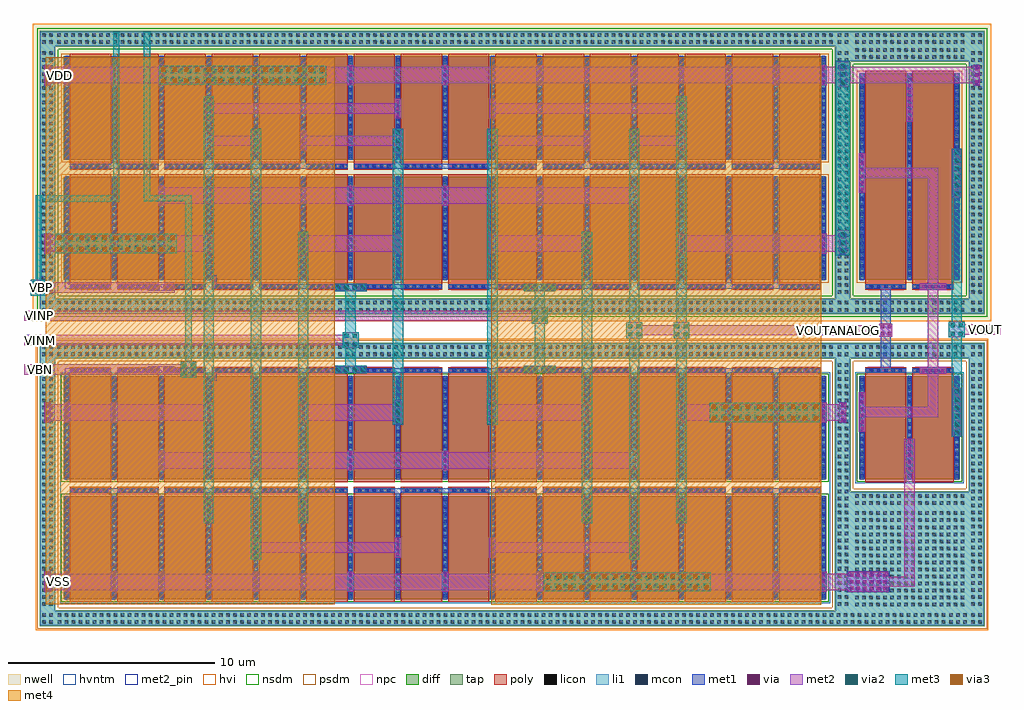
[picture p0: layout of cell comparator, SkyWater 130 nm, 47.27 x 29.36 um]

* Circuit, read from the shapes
.subckt comparator VBN VBP VDD VINM VINP VOUT VOUTANALOG VSS
XM1 VSS VSS VSS VSS sky130_fd_pr__nfet_g5v0d10v5 w=5 l=2 m=8
XM2 n1 VBN VSS VSS sky130_fd_pr__nfet_g5v0d10v5 w=5 l=2 m=2
XM3 n2 n3 VSS VSS sky130_fd_pr__nfet_g5v0d10v5 w=5 l=2 m=2
XM4 n1 VSS VSS VSS sky130_fd_pr__nfet_g5v0d10v5 w=5 l=2 m=2
XM5 n3 n3 VSS VSS sky130_fd_pr__nfet_g5v0d10v5 w=5 l=2 m=2
XM6 n4 VINM n1 VSS sky130_fd_pr__nfet_g5v0d10v5 w=5 l=2 m=4
XM7 n5 n5 VSS VSS sky130_fd_pr__nfet_g5v0d10v5 w=5 l=2 m=2
XM8 VOUTANALOG n5 VSS VSS sky130_fd_pr__nfet_g5v0d10v5 w=5 l=2 m=2
XM9 n6 VINP n1 VSS sky130_fd_pr__nfet_g5v0d10v5 w=5 l=2 m=4
XM10 n7 n7 VSS VSS sky130_fd_pr__nfet_g5v0d10v5 w=5 l=2 m=2
XM11 VOUTANALOG n7 VSS VSS sky130_fd_pr__nfet_g5v0d10v5 w=5 l=2 m=2
XM12 VSS VOUTANALOG n8 VSS sky130_fd_pr__nfet_g5v0d10v5 w=5 l=2
XM13 VOUT n8 VSS VSS sky130_fd_pr__nfet_g5v0d10v5 w=5 l=2
XM14 VDD VDD VDD VDD sky130_fd_pr__pfet_g5v0d10v5 w=5 l=2 m=8
XM15 n9 VBP VDD VDD sky130_fd_pr__pfet_g5v0d10v5 w=5 l=2 m=2
XM16 n5 n4 VDD VDD sky130_fd_pr__pfet_g5v0d10v5 w=5 l=2 m=2
XM17 n9 VDD VDD VDD sky130_fd_pr__pfet_g5v0d10v5 w=5 l=2 m=2
XM18 n3 VINM n9 VDD sky130_fd_pr__pfet_g5v0d10v5 w=5 l=2 m=4
XM19 n4 n4 VDD VDD sky130_fd_pr__pfet_g5v0d10v5 w=5 l=2 m=2
XM20 n2 n2 VDD VDD sky130_fd_pr__pfet_g5v0d10v5 w=5 l=2 m=2
XM21 n7 VINP n9 VDD sky130_fd_pr__pfet_g5v0d10v5 w=5 l=2 m=4
XM22 VOUTANALOG n2 VDD VDD sky130_fd_pr__pfet_g5v0d10v5 w=5 l=2 m=2
XM23 n6 n6 VDD VDD sky130_fd_pr__pfet_g5v0d10v5 w=5 l=2 m=2
XM24 VOUTANALOG n6 VDD VDD sky130_fd_pr__pfet_g5v0d10v5 w=5 l=2 m=2
XM25 VDD VOUTANALOG n8 VDD sky130_fd_pr__pfet_g5v0d10v5 w=10 l=2
XM26 VOUT n8 VDD VDD sky130_fd_pr__pfet_g5v0d10v5 w=10 l=2
.ends

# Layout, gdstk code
import gdstk
lib = gdstk.Library(unit=1e-6, precision=1e-09)
def R(c, l, rs):  # rectangles x0, y0, x1, y1
    for r in rs: c.add(gdstk.rectangle(r[:2], r[2:], *l))
def A(c, l, x, y, w, h, nx, ny, dx, dy):  # array of equal rectangles
    R(c, l, [(x+i*dx, y+j*dy, x+i*dx+w, y+j*dy+h) for i in range(nx) for j in range(ny)])
nwell = (64, 20)
diff = (65, 20)
tap = (65, 44)
poly = (66, 20)
licon = (66, 44)
li1 = (67, 20)
mcon = (67, 44)
met1 = (68, 20)
via = (68, 44)
met2_pin = (69, 16)
met2 = (69, 20)
via2 = (69, 44)
met3 = (70, 20)
via3 = (70, 44)
met4 = (71, 20)
hvi = (75, 20)
nsdm = (93, 44)
psdm = (94, 20)
npc = (95, 20)
hvntm = (125, 20)

comparator = lib.new_cell('comparator')
R(comparator, nwell, [(2538.77,3214.695,2585.2,3229.085)])
R(comparator, diff, [(2540.28,3201.215,2577.21,3206.215), (2540.28,3207.025,2577.21,3212.025), (2578.8,3207.025,2583.67,3212.025), (2540.28,3216.685,2577.21,3221.685), (2578.8,3216.685,2583.67,3226.685), (2540.28,3222.515,2577.21,3227.515)])
R(comparator, tap, [(2539.1,3199.91,2584.87,3200.68), (2539.1,3200.68,2539.87,3212.87), (2577.62,3200.68,2584.87,3206.44), (2577.62,3206.44,2578.39,3212.87), (2584.1,3206.44,2584.87,3212.87), (2539.1,3212.87,2584.87,3213.64), (2539.1,3215.025,2584.87,3215.795), (2539.1,3215.795,2539.87,3227.985), (2577.62,3215.795,2578.39,3227.265), (2584.1,3215.795,2584.87,3227.265), (2577.62,3227.265,2584.87,3227.985), (2539.1,3227.985,2584.87,3228.755)])
A(comparator, poly, 2540.57, 3201.085, 2, 5.57, 16, 2, 2.29, 5.81)
A(comparator, poly, 2540.57, 3216.2, 2, 5.615, 16, 2, 2.29, 5.83)
R(comparator, poly, [(2579.09,3206.895,2581.09,3212.465), (2581.38,3206.895,2583.38,3212.465), (2579.09,3216.2,2581.09,3226.815), (2581.38,3216.2,2583.38,3226.815)])
A(comparator, licon, 2539.97, 3200.04, 0.17, 0.17, 130, 2, 0.34, 0.34)
A(comparator, licon, 2578.61, 3200.88, 0.17, 0.17, 16, 14, 0.34, 0.34)
A(comparator, licon, 2539.23, 3200.91, 0.17, 0.17, 1, 35, 0, 0.34)
A(comparator, licon, 2539.57, 3200.91, 0.17, 0.17, 1, 35, 0, 0.34)
A(comparator, licon, 2577.75, 3200.91, 0.17, 0.17, 1, 35, 0, 0.34)
A(comparator, licon, 2578.09, 3200.91, 0.17, 0.17, 1, 35, 0, 0.34)
A(comparator, licon, 2584.23, 3200.91, 0.17, 0.17, 1, 35, 0, 0.34)
A(comparator, licon, 2584.57, 3200.91, 0.17, 0.17, 1, 35, 0, 0.34)
A(comparator, licon, 2540.34, 3201.42, 0.17, 0.17, 17, 14, 2.29, 0.34)
A(comparator, licon, 2578.61, 3205.8, 0.17, 0.17, 16, 2, 0.34, 0.34)
A(comparator, licon, 2540.805, 3206.405, 0.17, 0.17, 5, 2, 0.34, 5.81)
A(comparator, licon, 2543.095, 3206.405, 0.17, 0.17, 5, 2, 0.34, 5.81)
A(comparator, licon, 2545.385, 3206.405, 0.17, 0.17, 5, 2, 0.34, 5.81)
A(comparator, licon, 2547.675, 3206.405, 0.17, 0.17, 5, 2, 0.34, 5.81)
A(comparator, licon, 2549.965, 3206.405, 0.17, 0.17, 5, 2, 0.34, 5.81)
A(comparator, licon, 2552.255, 3206.405, 0.17, 0.17, 5, 2, 0.34, 5.81)
A(comparator, licon, 2554.545, 3206.405, 0.17, 0.17, 5, 2, 0.34, 5.81)
A(comparator, licon, 2556.835, 3206.405, 0.17, 0.17, 5, 2, 0.34, 5.81)
A(comparator, licon, 2559.125, 3206.405, 0.17, 0.17, 5, 2, 0.34, 5.81)
A(comparator, licon, 2561.415, 3206.405, 0.17, 0.17, 5, 2, 0.34, 5.81)
A(comparator, licon, 2563.705, 3206.405, 0.17, 0.17, 5, 2, 0.34, 5.81)
A(comparator, licon, 2565.995, 3206.405, 0.17, 0.17, 5, 2, 0.34, 5.81)
A(comparator, licon, 2568.285, 3206.405, 0.17, 0.17, 5, 2, 0.34, 5.81)
A(comparator, licon, 2570.575, 3206.405, 0.17, 0.17, 5, 2, 0.34, 5.81)
A(comparator, licon, 2572.865, 3206.405, 0.17, 0.17, 5, 2, 0.34, 5.81)
A(comparator, licon, 2575.155, 3206.405, 0.17, 0.17, 5, 2, 0.34, 5.81)
A(comparator, licon, 2540.34, 3207.23, 0.17, 0.17, 17, 14, 2.29, 0.34)
A(comparator, licon, 2578.86, 3207.23, 0.17, 0.17, 3, 14, 2.29, 0.34)
A(comparator, licon, 2579.325, 3212.215, 0.17, 0.17, 5, 2, 0.34, 4.065)
A(comparator, licon, 2581.615, 3212.215, 0.17, 0.17, 5, 2, 0.34, 4.065)
A(comparator, licon, 2539.96, 3213, 0.17, 0.17, 111, 2, 0.34, 0.34)
A(comparator, licon, 2578.61, 3213, 0.17, 0.17, 16, 2, 0.34, 0.34)
A(comparator, licon, 2539.96, 3215.155, 0.17, 0.17, 111, 2, 0.34, 0.34)
A(comparator, licon, 2578.61, 3215.155, 0.17, 0.17, 16, 2, 0.34, 0.34)
A(comparator, licon, 2539.23, 3216.025, 0.17, 0.17, 1, 35, 0, 0.34)
A(comparator, licon, 2539.57, 3216.025, 0.17, 0.17, 1, 35, 0, 0.34)
A(comparator, licon, 2577.75, 3216.025, 0.17, 0.17, 1, 35, 0, 0.34)
A(comparator, licon, 2578.09, 3216.025, 0.17, 0.17, 1, 35, 0, 0.34)
A(comparator, licon, 2584.23, 3216.025, 0.17, 0.17, 1, 35, 0, 0.34)
A(comparator, licon, 2584.57, 3216.025, 0.17, 0.17, 1, 35, 0, 0.34)
A(comparator, licon, 2540.805, 3216.28, 0.17, 0.17, 5, 2, 0.34, 5.83)
A(comparator, licon, 2543.095, 3216.28, 0.17, 0.17, 5, 2, 0.34, 5.83)
A(comparator, licon, 2545.385, 3216.28, 0.17, 0.17, 5, 2, 0.34, 5.83)
A(comparator, licon, 2547.675, 3216.28, 0.17, 0.17, 5, 2, 0.34, 5.83)
A(comparator, licon, 2549.965, 3216.28, 0.17, 0.17, 5, 2, 0.34, 5.83)
A(comparator, licon, 2552.255, 3216.28, 0.17, 0.17, 5, 2, 0.34, 5.83)
A(comparator, licon, 2554.545, 3216.28, 0.17, 0.17, 5, 2, 0.34, 5.83)
A(comparator, licon, 2556.835, 3216.28, 0.17, 0.17, 5, 2, 0.34, 5.83)
A(comparator, licon, 2559.125, 3216.28, 0.17, 0.17, 5, 2, 0.34, 5.83)
A(comparator, licon, 2561.415, 3216.28, 0.17, 0.17, 5, 2, 0.34, 5.83)
A(comparator, licon, 2563.705, 3216.28, 0.17, 0.17, 5, 2, 0.34, 5.83)
A(comparator, licon, 2565.995, 3216.28, 0.17, 0.17, 5, 2, 0.34, 5.83)
A(comparator, licon, 2568.285, 3216.28, 0.17, 0.17, 5, 2, 0.34, 5.83)
A(comparator, licon, 2570.575, 3216.28, 0.17, 0.17, 5, 2, 0.34, 5.83)
A(comparator, licon, 2572.865, 3216.28, 0.17, 0.17, 5, 2, 0.34, 5.83)
A(comparator, licon, 2575.155, 3216.28, 0.17, 0.17, 5, 2, 0.34, 5.83)
A(comparator, licon, 2578.86, 3216.84, 0.17, 0.17, 3, 29, 2.29, 0.34)
A(comparator, licon, 2540.34, 3216.89, 0.17, 0.17, 17, 14, 2.29, 0.34)
A(comparator, licon, 2540.34, 3222.72, 0.17, 0.17, 17, 14, 2.29, 0.34)
A(comparator, licon, 2578.61, 3227.395, 0.17, 0.17, 16, 2, 0.34, 0.34)
A(comparator, licon, 2539.96, 3228.115, 0.17, 0.17, 111, 2, 0.34, 0.34)
A(comparator, licon, 2578.61, 3228.115, 0.17, 0.17, 16, 2, 0.34, 0.34)
R(comparator, licon, [(2539.23,3200.04,2539.4,3200.21), (2539.57,3200.04,2539.74,3200.21), (2584.23,3200.04,2584.4,3200.21), (2584.57,3200.04,2584.74,3200.21), (2539.23,3200.38,2539.4,3200.55), (2539.57,3200.38,2539.74,3200.55), (2584.23,3200.38,2584.4,3200.55), (2584.57,3200.38,2584.74,3200.55), (2539.23,3213,2539.4,3213.17), (2539.57,3213,2539.74,3213.17), (2577.75,3213,2577.92,3213.17), (2578.09,3213,2578.26,3213.17), (2584.23,3213,2584.4,3213.17), (2584.57,3213,2584.74,3213.17), (2539.23,3213.34,2539.4,3213.51), (2539.57,3213.34,2539.74,3213.51), (2577.75,3213.34,2577.92,3213.51), (2578.09,3213.34,2578.26,3213.51), (2584.23,3213.34,2584.4,3213.51), (2584.57,3213.34,2584.74,3213.51), (2539.23,3215.155,2539.4,3215.325), (2539.57,3215.155,2539.74,3215.325), (2577.75,3215.155,2577.92,3215.325), (2578.09,3215.155,2578.26,3215.325), (2584.23,3215.155,2584.4,3215.325), (2584.57,3215.155,2584.74,3215.325), (2539.23,3215.495,2539.4,3215.665), (2539.57,3215.495,2539.74,3215.665), (2577.75,3215.495,2577.92,3215.665), (2578.09,3215.495,2578.26,3215.665), (2584.23,3215.495,2584.4,3215.665), (2584.57,3215.495,2584.74,3215.665), (2539.23,3228.115,2539.4,3228.285), (2539.57,3228.115,2539.74,3228.285), (2577.75,3228.115,2577.92,3228.285), (2578.09,3228.115,2578.26,3228.285), (2584.23,3228.115,2584.4,3228.285), (2584.57,3228.115,2584.74,3228.285), (2539.23,3228.455,2539.4,3228.625), (2539.57,3228.455,2539.74,3228.625), (2577.75,3228.455,2577.92,3228.625), (2578.09,3228.455,2578.26,3228.625), (2584.23,3228.455,2584.4,3228.625), (2584.57,3228.455,2584.74,3228.625)])
A(comparator, li1, 2540.34, 3201.195, 0.17, 5.04, 17, 2, 2.29, 5.81)
A(comparator, li1, 2540.57, 3206.405, 2, 0.17, 16, 2, 2.29, 5.81)
A(comparator, li1, 2578.86, 3207.005, 0.17, 5.04, 3, 1, 2.29, 0)
A(comparator, li1, 2540.57, 3216.28, 2, 0.17, 16, 2, 2.29, 5.83)
A(comparator, li1, 2540.34, 3216.665, 0.17, 5.04, 17, 2, 2.29, 5.83)
A(comparator, li1, 2578.86, 3216.665, 0.17, 10.04, 3, 1, 2.29, 0)
R(comparator, li1, [(2539.14,3199.95,2584.83,3200.64), (2539.14,3200.64,2539.83,3212.91), (2577.66,3200.64,2584.83,3206.4), (2577.66,3206.4,2578.35,3212.91), (2584.14,3206.4,2584.83,3212.91), (2579.09,3212.215,2581.09,3212.385), (2581.38,3212.215,2583.38,3212.385), (2539.14,3212.91,2584.83,3213.6), (2539.14,3215.065,2584.83,3215.755), (2539.14,3215.755,2539.83,3228.025), (2577.66,3215.755,2578.35,3227.305), (2584.14,3215.755,2584.83,3227.305), (2579.09,3216.28,2581.09,3216.45), (2581.38,3216.28,2583.38,3216.45), (2577.66,3227.305,2584.83,3228.025), (2539.14,3228.025,2584.83,3228.715)])
A(comparator, mcon, 2540.34, 3201.29, 0.17, 0.17, 17, 14, 2.29, 0.36)
A(comparator, mcon, 2539.395, 3201.62, 0.17, 0.17, 1, 3, 0, 0.36)
A(comparator, mcon, 2578.25, 3201.62, 0.17, 0.17, 6, 3, 0.36, 0.36)
A(comparator, mcon, 2540.765, 3206.405, 0.17, 0.17, 5, 2, 0.36, 5.81)
A(comparator, mcon, 2543.055, 3206.405, 0.17, 0.17, 5, 2, 0.36, 5.81)
A(comparator, mcon, 2545.345, 3206.405, 0.17, 0.17, 5, 2, 0.36, 5.81)
A(comparator, mcon, 2547.635, 3206.405, 0.17, 0.17, 5, 2, 0.36, 5.81)
A(comparator, mcon, 2549.925, 3206.405, 0.17, 0.17, 5, 2, 0.36, 5.81)
A(comparator, mcon, 2552.215, 3206.405, 0.17, 0.17, 5, 2, 0.36, 5.81)
A(comparator, mcon, 2554.505, 3206.405, 0.17, 0.17, 5, 2, 0.36, 5.81)
A(comparator, mcon, 2556.795, 3206.405, 0.17, 0.17, 5, 2, 0.36, 5.81)
A(comparator, mcon, 2559.085, 3206.405, 0.17, 0.17, 5, 2, 0.36, 5.81)
A(comparator, mcon, 2561.375, 3206.405, 0.17, 0.17, 5, 2, 0.36, 5.81)
A(comparator, mcon, 2563.665, 3206.405, 0.17, 0.17, 5, 2, 0.36, 5.81)
A(comparator, mcon, 2565.955, 3206.405, 0.17, 0.17, 5, 2, 0.36, 5.81)
A(comparator, mcon, 2568.245, 3206.405, 0.17, 0.17, 5, 2, 0.36, 5.81)
A(comparator, mcon, 2570.535, 3206.405, 0.17, 0.17, 5, 2, 0.36, 5.81)
A(comparator, mcon, 2572.825, 3206.405, 0.17, 0.17, 5, 2, 0.36, 5.81)
A(comparator, mcon, 2575.115, 3206.405, 0.17, 0.17, 5, 2, 0.36, 5.81)
A(comparator, mcon, 2540.34, 3207.1, 0.17, 0.17, 17, 14, 2.29, 0.36)
A(comparator, mcon, 2578.86, 3207.1, 0.17, 0.17, 3, 14, 2.29, 0.36)
A(comparator, mcon, 2539.4, 3209.82, 0.17, 0.17, 1, 3, 0, 0.36)
A(comparator, mcon, 2577.92, 3209.82, 0.17, 0.17, 1, 3, 0, 0.36)
A(comparator, mcon, 2579.285, 3212.215, 0.17, 0.17, 5, 2, 0.36, 4.065)
A(comparator, mcon, 2581.575, 3212.215, 0.17, 0.17, 5, 2, 0.36, 4.065)
A(comparator, mcon, 2540.765, 3216.28, 0.17, 0.17, 5, 2, 0.36, 5.83)
A(comparator, mcon, 2543.055, 3216.28, 0.17, 0.17, 5, 2, 0.36, 5.83)
A(comparator, mcon, 2545.345, 3216.28, 0.17, 0.17, 5, 2, 0.36, 5.83)
A(comparator, mcon, 2547.635, 3216.28, 0.17, 0.17, 5, 2, 0.36, 5.83)
A(comparator, mcon, 2549.925, 3216.28, 0.17, 0.17, 5, 2, 0.36, 5.83)
A(comparator, mcon, 2552.215, 3216.28, 0.17, 0.17, 5, 2, 0.36, 5.83)
A(comparator, mcon, 2554.505, 3216.28, 0.17, 0.17, 5, 2, 0.36, 5.83)
A(comparator, mcon, 2556.795, 3216.28, 0.17, 0.17, 5, 2, 0.36, 5.83)
A(comparator, mcon, 2559.085, 3216.28, 0.17, 0.17, 5, 2, 0.36, 5.83)
A(comparator, mcon, 2561.375, 3216.28, 0.17, 0.17, 5, 2, 0.36, 5.83)
A(comparator, mcon, 2563.665, 3216.28, 0.17, 0.17, 5, 2, 0.36, 5.83)
A(comparator, mcon, 2565.955, 3216.28, 0.17, 0.17, 5, 2, 0.36, 5.83)
A(comparator, mcon, 2568.245, 3216.28, 0.17, 0.17, 5, 2, 0.36, 5.83)
A(comparator, mcon, 2570.535, 3216.28, 0.17, 0.17, 5, 2, 0.36, 5.83)
A(comparator, mcon, 2572.825, 3216.28, 0.17, 0.17, 5, 2, 0.36, 5.83)
A(comparator, mcon, 2575.115, 3216.28, 0.17, 0.17, 5, 2, 0.36, 5.83)
A(comparator, mcon, 2540.34, 3216.76, 0.17, 0.17, 17, 14, 2.29, 0.36)
A(comparator, mcon, 2578.86, 3216.92, 0.17, 0.17, 3, 27, 2.29, 0.36)
A(comparator, mcon, 2539.4, 3218, 0.17, 0.17, 1, 3, 0, 0.36)
A(comparator, mcon, 2577.92, 3218, 0.17, 0.17, 1, 3, 0, 0.36)
A(comparator, mcon, 2540.34, 3222.59, 0.17, 0.17, 17, 14, 2.29, 0.36)
A(comparator, mcon, 2539.395, 3226.16, 0.17, 0.17, 1, 3, 0, 0.36)
A(comparator, mcon, 2577.925, 3226.16, 0.17, 0.17, 1, 3, 0, 0.36)
A(comparator, mcon, 2584.4, 3226.16, 0.17, 0.17, 1, 3, 0, 0.36)
A(comparator, met1, 2540.31, 3201.215, 0.23, 0.37, 3, 1, 2.29, 0)
A(comparator, met1, 2549.47, 3201.215, 0.23, 0.37, 6, 1, 4.58, 0)
A(comparator, met1, 2540.265, 3201.585, 0.32, 0.96, 3, 2, 2.29, 24.54)
A(comparator, met1, 2549.425, 3201.585, 0.32, 0.96, 6, 2, 4.58, 24.54)
A(comparator, met1, 2540.31, 3202.545, 0.23, 3.67, 9, 1, 4.58, 0)
A(comparator, met1, 2545.17, 3206.375, 8.83, 0.23, 3, 2, 9.16, 15.705)
A(comparator, met1, 2542.6, 3207.025, 0.23, 2.76, 7, 2, 4.58, 11.9)
A(comparator, met1, 2544.89, 3207.025, 0.23, 0.435, 6, 2, 4.58, 14.225)
A(comparator, met1, 2572.37, 3207.025, 0.23, 2.76, 3, 2, 2.29, 11.9)
A(comparator, met1, 2544.845, 3207.46, 0.32, 0.96, 6, 2, 4.58, 12.83)
A(comparator, met1, 2544.89, 3208.42, 0.23, 3.605, 6, 2, 4.58, 8.265)
A(comparator, met1, 2542.555, 3209.785, 0.32, 0.96, 7, 2, 4.58, 8.18)
A(comparator, met1, 2572.325, 3209.785, 0.32, 0.96, 3, 2, 2.29, 8.18)
A(comparator, met1, 2551.76, 3210.745, 0.23, 1.28, 4, 2, 4.58, 5.94)
A(comparator, met1, 2570.08, 3210.745, 0.23, 1.44, 3, 1, 2.29, 0)
A(comparator, met1, 2549.75, 3212.185, 8.83, 0.23, 3, 2, 9.16, 4.065)
A(comparator, met1, 2544.365, 3212.415, 1.28, 0.09, 3, 2, 9.16, 3.745)
A(comparator, met1, 2570.08, 3216.48, 0.23, 1.485, 3, 1, 2.29, 0)
A(comparator, met1, 2540.31, 3222.515, 0.23, 3.61, 9, 1, 4.58, 0)
A(comparator, met1, 2540.31, 3227.085, 0.23, 0.43, 3, 1, 2.29, 0)
A(comparator, met1, 2549.47, 3227.085, 0.23, 0.43, 6, 1, 4.58, 0)
R(comparator, met1, [(2547.18,3201.215,2547.41,3205.01), (2551.76,3201.215,2551.99,3205.01), (2556.34,3201.215,2556.57,3203.24), (2560.92,3201.215,2561.15,3203.24), (2565.5,3201.215,2565.73,3205.01), (2570.08,3201.215,2570.31,3205.01), (2574.66,3201.215,2574.89,3201.585), (2576.95,3201.215,2577.18,3201.585), (2539.335,3201.56,2539.625,3201.585), (2578.19,3201.56,2580.28,3202.57), (2539.32,3201.585,2539.64,3202.545), (2574.615,3201.585,2574.935,3202.545), (2576.905,3201.585,2577.225,3202.545), (2539.335,3202.545,2539.625,3202.57), (2542.6,3202.545,2542.83,3206.375), (2574.66,3202.545,2574.89,3206.375), (2556.295,3203.24,2556.615,3204.2), (2560.875,3203.24,2561.195,3204.2), (2556.34,3204.2,2556.57,3206.375), (2560.92,3204.2,2561.15,3206.215), (2547.135,3205.01,2547.455,3205.97), (2551.715,3205.01,2552.035,3205.97), (2565.455,3205.01,2565.775,3205.97), (2570.035,3205.01,2570.355,3205.97), (2547.18,3205.97,2547.41,3206.215), (2551.76,3205.97,2551.99,3206.375), (2565.5,3205.97,2565.73,3206.375), (2570.08,3205.97,2570.31,3206.215), (2540.59,3206.375,2544.84,3206.605), (2572.65,3206.375,2576.9,3206.605), (2540.31,3207.025,2540.54,3209.785), (2578.83,3207.025,2579.06,3209.325), (2581.12,3207.025,2581.35,3207.385), (2583.41,3207.025,2583.64,3209.325), (2581.075,3207.385,2581.395,3208.985), (2581.12,3208.985,2581.35,3212.025), (2578.785,3209.325,2579.105,3211.245), (2583.365,3209.325,2583.685,3211.245), (2539.34,3209.76,2539.63,3209.785), (2577.86,3209.76,2578.15,3209.785), (2539.325,3209.785,2539.645,3210.745), (2540.265,3209.785,2540.585,3210.745), (2577.845,3209.785,2578.165,3210.745), (2539.34,3210.745,2539.63,3210.77), (2540.31,3210.745,2540.54,3212.185), (2542.6,3210.745,2542.83,3212.025), (2547.18,3210.745,2547.41,3211.795), (2576.95,3210.745,2577.18,3212.025), (2577.86,3210.745,2578.15,3210.77), (2578.83,3211.245,2579.06,3212.025), (2583.41,3211.245,2583.64,3212.025), (2547.18,3211.795,2547.69,3212.025), (2547.46,3212.025,2547.69,3212.185), (2581.735,3212.14,2583.015,3212.185), (2540.31,3212.185,2542.55,3212.415), (2542.88,3212.185,2547.13,3212.415), (2547.46,3212.185,2549.42,3212.415), (2579.11,3212.185,2581.07,3212.415), (2581.4,3212.185,2583.36,3212.415), (2579.84,3212.415,2580.34,3213.93), (2581.735,3212.415,2583.015,3212.46), (2579.77,3213.93,2580.41,3214.57), (2579.84,3214.57,2580.34,3216.25), (2581.74,3216.205,2583.02,3216.25), (2540.31,3216.25,2542.55,3216.48), (2542.88,3216.25,2547.13,3216.48), (2547.46,3216.25,2549.42,3216.48), (2579.11,3216.25,2581.07,3216.48), (2581.4,3216.25,2583.36,3216.48), (2540.31,3216.48,2540.54,3217.965), (2547.46,3216.48,2547.69,3216.685), (2581.74,3216.48,2583.02,3216.525), (2542.6,3216.685,2542.83,3217.965), (2547.18,3216.685,2547.69,3216.915), (2576.95,3216.685,2577.18,3217.965), (2578.83,3216.685,2579.06,3220.905), (2581.12,3216.685,2581.35,3224.355), (2583.41,3216.685,2583.64,3220.905), (2547.18,3216.915,2547.41,3217.965), (2539.34,3217.94,2539.63,3217.965), (2577.86,3217.94,2578.15,3217.965), (2539.325,3217.965,2539.645,3218.925), (2540.265,3217.965,2540.585,3218.925), (2577.845,3217.965,2578.165,3218.925), (2539.34,3218.925,2539.63,3218.95), (2540.31,3218.925,2540.54,3221.685), (2577.86,3218.925,2578.15,3218.95), (2578.785,3220.905,2579.105,3222.825), (2583.365,3220.905,2583.685,3222.825), (2540.59,3222.08,2544.84,3222.31), (2572.65,3222.08,2576.9,3222.31), (2542.6,3222.31,2542.83,3226.125), (2551.76,3222.31,2551.99,3222.95), (2556.34,3222.31,2556.57,3224.51), (2565.5,3222.31,2565.73,3222.95), (2574.66,3222.31,2574.89,3226.125), (2547.18,3222.515,2547.41,3222.95), (2560.92,3222.515,2561.15,3224.51), (2570.08,3222.515,2570.31,3222.95), (2578.83,3222.825,2579.06,3226.685), (2583.41,3222.825,2583.64,3226.685), (2547.135,3222.95,2547.455,3223.91), (2551.715,3222.95,2552.035,3223.91), (2565.455,3222.95,2565.775,3223.91), (2570.035,3222.95,2570.355,3223.91), (2547.18,3223.91,2547.41,3227.515), (2551.76,3223.91,2551.99,3227.515), (2565.5,3223.91,2565.73,3227.515), (2570.08,3223.91,2570.31,3227.515), (2581.075,3224.355,2581.395,3226.275), (2556.295,3224.51,2556.615,3225.47), (2560.875,3224.51,2561.195,3225.47), (2556.34,3225.47,2556.57,3227.515), (2560.92,3225.47,2561.15,3227.515), (2539.335,3226.1,2539.625,3226.125), (2577.865,3226.1,2578.155,3226.125), (2584.34,3226.1,2584.63,3226.125), (2539.32,3226.125,2539.64,3227.085), (2574.615,3226.125,2574.935,3227.085), (2576.905,3226.125,2577.225,3227.085), (2577.85,3226.125,2578.17,3227.085), (2584.325,3226.125,2584.645,3227.085), (2581.12,3226.275,2581.35,3226.685), (2539.335,3227.085,2539.625,3227.11), (2574.66,3227.085,2574.89,3227.515), (2576.95,3227.085,2577.18,3227.515), (2577.865,3227.085,2578.155,3227.11), (2584.34,3227.085,2584.63,3227.11)])
A(comparator, via, 2539.405, 3201.67, 0.15, 0.15, 1, 3, 0, 0.32)
A(comparator, via, 2540.35, 3201.67, 0.15, 0.15, 3, 3, 2.29, 0.32)
A(comparator, via, 2549.51, 3201.67, 0.15, 0.15, 6, 3, 4.58, 0.32)
A(comparator, via, 2574.7, 3201.67, 0.15, 0.15, 1, 3, 0, 0.32)
A(comparator, via, 2576.99, 3201.67, 0.15, 0.15, 1, 3, 0, 0.32)
A(comparator, via, 2578.36, 3201.67, 0.15, 0.15, 6, 3, 0.32, 0.32)
A(comparator, via, 2556.38, 3203.325, 0.15, 0.15, 1, 3, 0, 0.32)
A(comparator, via, 2560.96, 3203.325, 0.15, 0.15, 1, 3, 0, 0.32)
A(comparator, via, 2547.22, 3205.095, 0.15, 0.15, 1, 3, 0, 0.32)
A(comparator, via, 2551.8, 3205.095, 0.15, 0.15, 1, 3, 0, 0.32)
A(comparator, via, 2565.54, 3205.095, 0.15, 0.15, 1, 3, 0, 0.32)
A(comparator, via, 2570.12, 3205.095, 0.15, 0.15, 1, 3, 0, 0.32)
A(comparator, via, 2581.16, 3207.47, 0.15, 0.15, 1, 5, 0, 0.32)
A(comparator, via, 2544.93, 3207.545, 0.15, 0.15, 6, 3, 4.58, 0.32)
A(comparator, via, 2578.87, 3209.41, 0.15, 0.15, 1, 6, 0, 0.32)
A(comparator, via, 2583.45, 3209.41, 0.15, 0.15, 1, 6, 0, 0.32)
A(comparator, via, 2539.41, 3209.87, 0.15, 0.15, 1, 3, 0, 0.32)
A(comparator, via, 2540.35, 3209.87, 0.15, 0.15, 1, 3, 0, 0.32)
A(comparator, via, 2542.64, 3209.87, 0.15, 0.15, 7, 3, 4.58, 0.32)
A(comparator, via, 2572.41, 3209.87, 0.15, 0.15, 3, 3, 2.29, 0.32)
A(comparator, via, 2577.93, 3209.87, 0.15, 0.15, 1, 3, 0, 0.32)
A(comparator, via, 2581.82, 3212.225, 0.15, 0.15, 4, 1, 0.32, 0)
A(comparator, via, 2544.45, 3212.27, 0.15, 0.15, 4, 2, 0.32, 3.975)
A(comparator, via, 2553.61, 3212.27, 0.15, 0.15, 4, 2, 0.32, 3.975)
A(comparator, via, 2562.77, 3212.27, 0.15, 0.15, 4, 2, 0.32, 3.975)
A(comparator, via, 2581.825, 3216.29, 0.15, 0.15, 4, 1, 0.32, 0)
A(comparator, via, 2539.41, 3218.05, 0.15, 0.15, 1, 3, 0, 0.32)
A(comparator, via, 2540.35, 3218.05, 0.15, 0.15, 1, 3, 0, 0.32)
A(comparator, via, 2542.64, 3218.05, 0.15, 0.15, 7, 3, 4.58, 0.32)
A(comparator, via, 2572.41, 3218.05, 0.15, 0.15, 3, 3, 2.29, 0.32)
A(comparator, via, 2577.93, 3218.05, 0.15, 0.15, 1, 3, 0, 0.32)
A(comparator, via, 2544.93, 3220.375, 0.15, 0.15, 6, 3, 4.58, 0.32)
A(comparator, via, 2578.87, 3220.99, 0.15, 0.15, 1, 6, 0, 0.32)
A(comparator, via, 2583.45, 3220.99, 0.15, 0.15, 1, 6, 0, 0.32)
A(comparator, via, 2547.22, 3223.035, 0.15, 0.15, 1, 3, 0, 0.32)
A(comparator, via, 2551.8, 3223.035, 0.15, 0.15, 1, 3, 0, 0.32)
A(comparator, via, 2565.54, 3223.035, 0.15, 0.15, 1, 3, 0, 0.32)
A(comparator, via, 2570.12, 3223.035, 0.15, 0.15, 1, 3, 0, 0.32)
A(comparator, via, 2581.16, 3224.44, 0.15, 0.15, 1, 6, 0, 0.32)
A(comparator, via, 2556.38, 3224.595, 0.15, 0.15, 1, 3, 0, 0.32)
A(comparator, via, 2560.96, 3224.595, 0.15, 0.15, 1, 3, 0, 0.32)
A(comparator, via, 2539.405, 3226.21, 0.15, 0.15, 1, 3, 0, 0.32)
A(comparator, via, 2540.35, 3226.21, 0.15, 0.15, 3, 3, 2.29, 0.32)
A(comparator, via, 2549.51, 3226.21, 0.15, 0.15, 6, 3, 4.58, 0.32)
A(comparator, via, 2574.7, 3226.21, 0.15, 0.15, 1, 3, 0, 0.32)
A(comparator, via, 2576.99, 3226.21, 0.15, 0.15, 1, 3, 0, 0.32)
A(comparator, via, 2577.935, 3226.21, 0.15, 0.15, 1, 3, 0, 0.32)
A(comparator, via, 2584.41, 3226.21, 0.15, 0.15, 1, 3, 0, 0.32)
R(comparator, via, [(2579.855,3214.015,2580.005,3214.165), (2580.175,3214.015,2580.325,3214.165), (2579.855,3214.335,2580.005,3214.485), (2580.175,3214.335,2580.325,3214.485)])
R(comparator, met2_pin, [(2577.55,3214,2578.09,3214.49)])
A(comparator, met2, 2540.265, 3201.585, 0.32, 0.08, 3, 2, 2.29, 0.88)
A(comparator, met2, 2549.425, 3201.585, 0.32, 0.08, 6, 2, 4.58, 0.88)
A(comparator, met2, 2544.845, 3207.46, 0.32, 0.08, 6, 2, 4.58, 0.88)
A(comparator, met2, 2542.555, 3209.785, 0.32, 0.08, 3, 2, 4.58, 0.88)
A(comparator, met2, 2570.035, 3209.785, 0.32, 0.08, 4, 2, 2.29, 0.88)
A(comparator, met2, 2570.035, 3217.965, 0.32, 0.08, 4, 2, 2.29, 0.88)
A(comparator, met2, 2544.845, 3220.29, 0.32, 0.08, 6, 2, 4.58, 0.88)
A(comparator, met2, 2540.265, 3226.125, 0.32, 0.08, 3, 2, 2.29, 0.88)
A(comparator, met2, 2549.425, 3226.125, 0.32, 0.08, 6, 2, 4.58, 0.88)
R(comparator, met2, [(2539.32,3201.585,2539.64,3201.665), (2574.615,3201.585,2574.935,3201.665), (2576.905,3201.585,2577.225,3201.665), (2578.275,3201.585,2580.195,3201.665), (2539.32,3201.665,2580.195,3201.815), (2539.32,3201.815,2581.485,3202.315), (2539.32,3202.315,2580.195,3202.465), (2580.985,3202.315,2581.485,3208.985), (2539.32,3202.465,2539.64,3202.545), (2574.615,3202.465,2574.935,3202.545), (2576.905,3202.465,2577.225,3202.545), (2578.275,3202.465,2580.195,3202.545), (2549.4,3203.135,2549.77,3203.47), (2567.72,3203.135,2568.09,3203.47), (2556.295,3203.24,2556.615,3203.47), (2560.875,3203.24,2561.195,3203.47), (2549.4,3203.47,2556.615,3203.97), (2560.875,3203.47,2568.09,3203.97), (2549.4,3203.97,2549.77,3204.305), (2556.295,3203.97,2556.615,3204.2), (2560.875,3203.97,2561.195,3204.2), (2567.72,3203.97,2568.09,3204.305), (2547.11,3204.905,2547.48,3206.075), (2551.69,3204.905,2552.06,3206.075), (2565.43,3204.905,2565.8,3206.075), (2570.01,3204.905,2570.38,3206.075), (2544.845,3207.54,2568.065,3208.34), (2583.34,3209.1,2583.71,3211.47), (2578.785,3209.325,2579.105,3210.035), (2556.27,3209.68,2556.64,3209.865), (2560.85,3209.68,2561.22,3209.865), (2539.325,3209.785,2539.645,3209.865), (2540.265,3209.785,2540.585,3209.865), (2565.455,3209.785,2565.775,3209.865), (2577.845,3209.785,2578.165,3209.865), (2539.325,3209.865,2547.455,3210.665), (2551.715,3209.865,2556.64,3210.665), (2560.85,3209.865,2565.775,3210.665), (2570.035,3209.865,2578.165,3210.665), (2578.785,3210.035,2582.63,3210.535), (2578.785,3210.535,2579.105,3211.245), (2582.13,3210.535,2582.63,3212.14), (2539.325,3210.665,2539.645,3210.745), (2540.265,3210.665,2540.585,3210.745), (2556.27,3210.665,2556.64,3210.85), (2560.85,3210.665,2561.22,3210.85), (2565.455,3210.665,2565.775,3210.745), (2577.845,3210.665,2578.165,3210.745), (2545.93,3211.955,2546.7,3212.095), (2538.345,3212.095,2546.7,3212.595), (2581.735,3212.14,2583.015,3212.46), (2553.38,3212.16,2554.95,3212.53), (2562.54,3212.16,2564.11,3212.53), (2582.13,3212.46,2582.63,3216.205), (2545.93,3212.595,2546.7,3212.725), (2553.78,3213.39,2554.55,3213.525), (2538.345,3213.525,2554.55,3214.025), (2567.525,3213.865,2568.295,3214), (2569.81,3213.865,2570.58,3214), (2583.14,3213.9,2583.91,3214.035), (2579.77,3213.93,2580.41,3214), (2567.525,3214,2580.41,3214.5), (2553.78,3214.025,2554.55,3214.16), (2583.14,3214.035,2585.62,3214.535), (2567.525,3214.5,2568.295,3214.635), (2569.81,3214.5,2570.58,3214.635), (2579.77,3214.5,2580.41,3214.57), (2583.14,3214.535,2583.91,3214.67), (2562.945,3214.565,2563.715,3214.7), (2538.345,3214.7,2563.715,3215.2), (2562.945,3215.2,2563.715,3215.335), (2538.665,3215.93,2539.435,3216.07), (2538.665,3216.07,2545.645,3216.57), (2553.38,3216.135,2554.95,3216.505), (2562.54,3216.135,2564.11,3216.505), (2581.74,3216.205,2583.02,3216.525), (2582.13,3216.525,2582.63,3221.615), (2538.665,3216.57,2539.435,3216.7), (2551.69,3217.86,2552.06,3218.045), (2565.43,3217.86,2565.8,3218.045), (2577.66,3217.87,2578.35,3218.045), (2539.325,3217.965,2539.645,3218.045), (2540.265,3217.965,2540.585,3218.045), (2542.555,3217.965,2542.875,3218.045), (2547.135,3217.965,2547.455,3218.045), (2556.295,3217.965,2556.615,3218.045), (2560.875,3217.965,2561.195,3218.045), (2539.325,3218.045,2547.455,3218.845), (2551.69,3218.045,2556.615,3218.845), (2560.875,3218.045,2565.8,3218.845), (2570.035,3218.045,2578.35,3218.845), (2539.325,3218.845,2539.645,3218.925), (2540.265,3218.845,2540.585,3218.925), (2542.555,3218.845,2542.875,3218.925), (2547.135,3218.845,2547.455,3218.925), (2551.69,3218.845,2552.06,3219.03), (2556.295,3218.845,2556.615,3218.925), (2560.875,3218.845,2561.195,3218.925), (2565.43,3218.845,2565.8,3219.03), (2577.66,3218.845,2578.35,3219.1), (2544.845,3220.37,2568.065,3221.17), (2583.34,3220.68,2583.71,3223.05), (2578.785,3220.905,2579.105,3221.615), (2578.785,3221.615,2582.63,3222.115), (2578.785,3222.115,2579.105,3222.825), (2549.4,3222.845,2549.77,3223.18), (2556.27,3222.845,2556.64,3223.18), (2560.85,3222.845,2561.22,3223.18), (2567.72,3222.845,2568.09,3223.18), (2547.135,3222.95,2547.455,3223.18), (2551.715,3222.95,2552.035,3223.18), (2565.455,3222.95,2565.775,3223.18), (2570.035,3222.95,2570.355,3223.18), (2547.135,3223.18,2549.77,3223.68), (2551.715,3223.18,2556.64,3223.68), (2560.85,3223.18,2565.775,3223.68), (2567.72,3223.18,2570.355,3223.68), (2547.135,3223.68,2547.455,3223.91), (2549.4,3223.68,2549.77,3224.015), (2551.715,3223.68,2552.035,3223.91), (2556.27,3223.68,2556.64,3224.015), (2560.85,3223.68,2561.22,3224.015), (2565.455,3223.68,2565.775,3223.91), (2567.72,3223.68,2568.09,3224.015), (2570.035,3223.68,2570.355,3223.91), (2581.075,3224.355,2581.395,3226.205), (2547.11,3224.405,2547.48,3224.74), (2570.01,3224.405,2570.38,3224.74), (2556.295,3224.51,2556.615,3224.74), (2560.875,3224.51,2561.195,3224.74), (2547.11,3224.74,2556.615,3225.24), (2560.875,3224.74,2570.38,3225.24), (2547.11,3225.24,2547.48,3225.575), (2556.295,3225.24,2556.615,3225.47), (2560.875,3225.24,2561.195,3225.47), (2570.01,3225.24,2570.38,3225.575), (2577.66,3226.035,2578.35,3226.205), (2539.32,3226.125,2539.64,3226.205), (2574.615,3226.125,2574.935,3226.205), (2576.905,3226.125,2577.225,3226.205), (2584.325,3226.125,2584.645,3226.205), (2539.32,3226.205,2584.645,3227.005), (2539.32,3227.005,2539.64,3227.085), (2574.615,3227.005,2574.935,3227.085), (2576.905,3227.005,2577.225,3227.085), (2577.66,3227.005,2578.35,3227.265), (2584.325,3227.005,2584.645,3227.085)])
A(comparator, via2, 2563.66, 3201.765, 0.2, 0.2, 20, 2, 0.4, 0.4)
A(comparator, via2, 2549.485, 3203.22, 0.2, 0.2, 1, 3, 0, 0.4)
A(comparator, via2, 2567.805, 3203.22, 0.2, 0.2, 1, 3, 0, 0.4)
A(comparator, via2, 2547.195, 3204.99, 0.2, 0.2, 1, 3, 0, 0.4)
A(comparator, via2, 2551.775, 3204.99, 0.2, 0.2, 1, 3, 0, 0.4)
A(comparator, via2, 2565.515, 3204.99, 0.2, 0.2, 1, 3, 0, 0.4)
A(comparator, via2, 2570.095, 3204.99, 0.2, 0.2, 1, 3, 0, 0.4)
A(comparator, via2, 2583.425, 3209.185, 0.2, 0.2, 1, 6, 0, 0.4)
A(comparator, via2, 2556.355, 3209.765, 0.2, 0.2, 1, 3, 0, 0.4)
A(comparator, via2, 2560.935, 3209.765, 0.2, 0.2, 1, 3, 0, 0.4)
A(comparator, via2, 2571.715, 3209.965, 0.2, 0.2, 13, 2, 0.4, 0.4)
A(comparator, via2, 2553.465, 3212.245, 0.2, 0.2, 4, 2, 0.4, 3.975)
A(comparator, via2, 2562.625, 3212.245, 0.2, 0.2, 4, 2, 0.4, 3.975)
A(comparator, via2, 2551.775, 3217.945, 0.2, 0.2, 1, 3, 0, 0.4)
A(comparator, via2, 2565.515, 3217.945, 0.2, 0.2, 1, 3, 0, 0.4)
A(comparator, via2, 2577.9, 3217.985, 0.2, 0.2, 1, 3, 0, 0.4)
A(comparator, via2, 2540.1, 3218.145, 0.2, 0.2, 14, 2, 0.4, 0.4)
A(comparator, via2, 2583.425, 3220.765, 0.2, 0.2, 1, 6, 0, 0.4)
A(comparator, via2, 2549.485, 3222.93, 0.2, 0.2, 1, 3, 0, 0.4)
A(comparator, via2, 2556.355, 3222.93, 0.2, 0.2, 1, 3, 0, 0.4)
A(comparator, via2, 2560.935, 3222.93, 0.2, 0.2, 1, 3, 0, 0.4)
A(comparator, via2, 2567.805, 3222.93, 0.2, 0.2, 1, 3, 0, 0.4)
A(comparator, via2, 2547.195, 3224.49, 0.2, 0.2, 1, 3, 0, 0.4)
A(comparator, via2, 2570.095, 3224.49, 0.2, 0.2, 1, 3, 0, 0.4)
A(comparator, via2, 2577.9, 3226.15, 0.2, 0.2, 1, 3, 0, 0.4)
A(comparator, via2, 2545.045, 3226.305, 0.2, 0.2, 20, 2, 0.4, 0.4)
R(comparator, via2, [(2546.015,3212.04,2546.215,3212.24), (2546.415,3212.04,2546.615,3212.24), (2546.015,3212.44,2546.215,3212.64), (2546.415,3212.44,2546.615,3212.64), (2553.865,3213.475,2554.065,3213.675), (2554.265,3213.475,2554.465,3213.675), (2553.865,3213.875,2554.065,3214.075), (2554.265,3213.875,2554.465,3214.075), (2567.61,3213.95,2567.81,3214.15), (2568.01,3213.95,2568.21,3214.15), (2569.895,3213.95,2570.095,3214.15), (2570.295,3213.95,2570.495,3214.15), (2583.225,3213.985,2583.425,3214.185), (2583.625,3213.985,2583.825,3214.185), (2567.61,3214.35,2567.81,3214.55), (2568.01,3214.35,2568.21,3214.55), (2569.895,3214.35,2570.095,3214.55), (2570.295,3214.35,2570.495,3214.55), (2583.225,3214.385,2583.425,3214.585), (2583.625,3214.385,2583.825,3214.585), (2563.03,3214.65,2563.23,3214.85), (2563.43,3214.65,2563.63,3214.85), (2563.03,3215.05,2563.23,3215.25), (2563.43,3215.05,2563.63,3215.25), (2538.75,3216.015,2538.95,3216.215), (2539.15,3216.015,2539.35,3216.215), (2538.75,3216.415,2538.95,3216.615), (2539.15,3216.415,2539.35,3216.615)])
R(comparator, met3, [(2563.52,3201.6,2571.6,3202.53), (2549.34,3203.135,2549.84,3224.015), (2567.655,3203.135,2568.155,3213.865), (2547.045,3204.905,2547.545,3225.575), (2551.625,3204.905,2552.125,3219.03), (2565.365,3204.905,2565.865,3219.03), (2569.945,3204.905,2570.445,3213.865), (2583.275,3209.1,2583.775,3213.9), (2556.205,3209.68,2556.705,3224.015), (2560.785,3209.68,2561.285,3224.015), (2571.565,3209.8,2576.895,3210.73), (2545.93,3211.955,2546.7,3212.725), (2553.38,3212.16,2554.95,3212.53), (2562.54,3212.16,2564.11,3212.53), (2553.915,3212.53,2554.415,3213.39), (2563.08,3212.53,2563.58,3214.565), (2546.16,3212.725,2546.46,3220.485), (2553.78,3213.39,2554.55,3214.16), (2567.525,3213.865,2568.295,3214.635), (2569.81,3213.865,2570.58,3214.635), (2583.14,3213.9,2583.91,3214.67), (2553.915,3214.16,2554.415,3216.135), (2562.945,3214.565,2563.715,3215.335), (2567.655,3214.635,2568.155,3224.015), (2569.945,3214.635,2570.445,3225.575), (2583.275,3214.67,2583.775,3223.05), (2563.08,3215.335,2563.58,3216.135), (2538.665,3215.93,2539.435,3216.7), (2553.38,3216.135,2554.95,3216.505), (2562.54,3216.135,2564.11,3216.505), (2538.905,3216.7,2539.205,3220.48), (2577.66,3217.87,2578.35,3227.305), (2539.86,3217.98,2545.74,3218.91), (2538.905,3220.48,2542.965,3220.78), (2544.15,3220.485,2546.46,3220.785), (2542.665,3220.78,2542.965,3228.715), (2544.15,3220.785,2544.45,3228.715), (2544.905,3226.14,2552.985,3227.07)])
A(comparator, via3, 2563.61, 3201.69, 0.2, 0.2, 15, 2, 0.55, 0.55)
A(comparator, via3, 2571.655, 3209.89, 0.2, 0.2, 10, 2, 0.55, 0.55)
A(comparator, via3, 2539.95, 3218.07, 0.2, 0.2, 11, 2, 0.55, 0.55)
A(comparator, via3, 2544.995, 3226.23, 0.2, 0.2, 15, 2, 0.55, 0.55)
R(comparator, met4, [(2560.97,3200.96,2576.97,3227.48), (2539.395,3200.965,2553.395,3227.48)])
R(comparator, hvi, [(2538.915,3199.725,2585.055,3213.825), (2538.77,3214.695,2585.2,3229.085)])
R(comparator, nsdm, [(2540.155,3201.09,2577.335,3206.34), (2540.155,3206.9,2577.335,3212.15), (2578.675,3206.9,2583.795,3212.15), (2538.975,3214.9,2584.995,3215.92), (2538.975,3215.92,2539.995,3227.86), (2577.495,3215.92,2578.515,3227.14), (2583.975,3215.92,2584.995,3227.14), (2577.495,3227.14,2584.995,3227.86), (2538.975,3227.86,2584.995,3228.88)])
R(comparator, psdm, [(2538.975,3199.785,2584.995,3200.805), (2538.975,3200.805,2539.995,3212.745), (2577.495,3200.805,2584.995,3206.565), (2577.495,3206.565,2578.515,3212.745), (2583.975,3206.565,2584.995,3212.745), (2538.975,3212.745,2584.995,3213.765), (2540.155,3216.56,2577.335,3221.81), (2578.675,3216.56,2583.795,3226.81), (2540.155,3222.39,2577.335,3227.64)])
A(comparator, npc, 2540.705, 3206.305, 1.73, 0.37, 16, 2, 2.29, 5.81)
A(comparator, npc, 2540.705, 3216.18, 1.73, 0.37, 16, 2, 2.29, 5.83)
R(comparator, npc, [(2579.225,3212.115,2580.955,3212.485), (2581.515,3212.115,2583.245,3212.485), (2579.225,3216.18,2580.955,3216.55), (2581.515,3216.18,2583.245,3216.55)])
R(comparator, hvntm, [(2540.095,3201.03,2577.395,3212.21), (2578.615,3206.84,2583.855,3212.21)])
comparator.add(gdstk.Label('VOUT', (2584.91,3214.285), layer=69, texttype=5))
comparator.add(gdstk.Label('VBN', (2539.15,3212.34), layer=69, texttype=5))
comparator.add(gdstk.Label('VSS', (2540.005,3202.075), layer=69, texttype=5))
comparator.add(gdstk.Label('VDD', (2540.055,3226.58), layer=69, texttype=5))
comparator.add(gdstk.Label('VINM', (2539.125,3213.77), layer=69, texttype=5))
comparator.add(gdstk.Label('VINP', (2539.115,3214.945), layer=69, texttype=5))
comparator.add(gdstk.Label('VBP', (2539.195,3216.31), layer=70, texttype=5))
comparator.add(gdstk.Label('VOUTANALOG', (2577.82,3214.245), layer=69, texttype=5))

lib.write_gds('comparator.gds')
